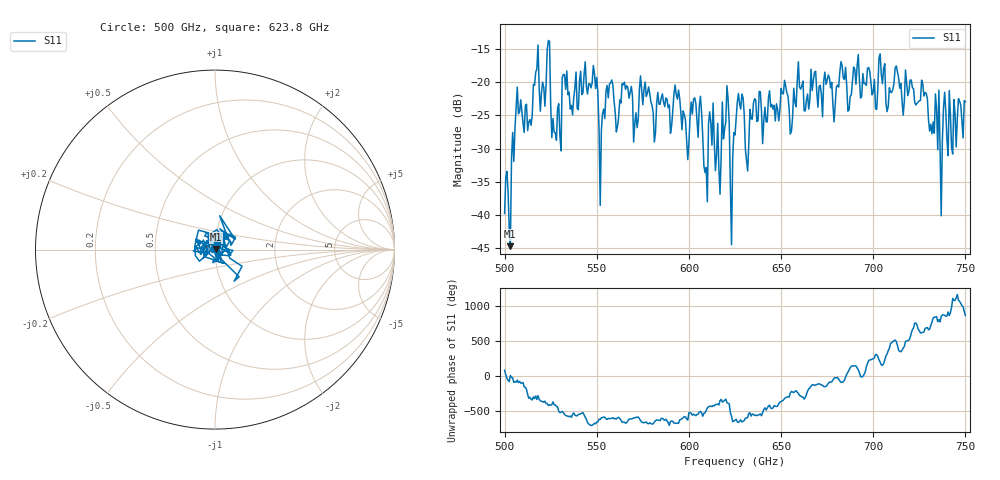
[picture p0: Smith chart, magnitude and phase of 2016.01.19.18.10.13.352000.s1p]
!Created with skrf (http://scikit-rf.org).
# GHz S RI R 50.0
!freq ReS11 ImS11
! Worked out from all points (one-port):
!   401 points, 500 GHz to 750 GHz, reference 50 ohm
!   lowest |S11| = -44.7 dB at 503.1 GHz (marker M1), VSWR 1.01, Z = 50.6 + j0.0984 ohm
!   |S11| at or under -10 dB: start of sweep to end of sweep
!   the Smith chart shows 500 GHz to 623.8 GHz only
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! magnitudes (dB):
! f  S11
! 500 GHz  -39.8
! 503.1 GHz  -44.7
! 507.5 GHz  -24.8
! 513.8 GHz  -25.6
! 516.9 GHz  -18.5
! 523.8 GHz  -13.7
! 526.9 GHz  -27.6
! 531.2 GHz  -19.3
! 548.8 GHz  -18.6
! 552.5 GHz  -27.3
! 556.9 GHz  -20.3
! 562.5 GHz  -22.7
! 593.8 GHz  -22.6
! 598.8 GHz  -28.7
! 605.6 GHz  -23.6
! 608.8 GHz  -33.6
! 611.9 GHz  -26.2
! 615.6 GHz  -26.2
! 620.6 GHz  -20.5
! 623.8 GHz  -31.4
! 625 GHz  -28.0
! 656.2 GHz  -25.2
! 667.5 GHz  -19.8
! 687.5 GHz  -22.1
! 690.6 GHz  -20.3
! 718.8 GHz  -22.0
! 736.2 GHz  -29.9
! 750 GHz  -23.0
